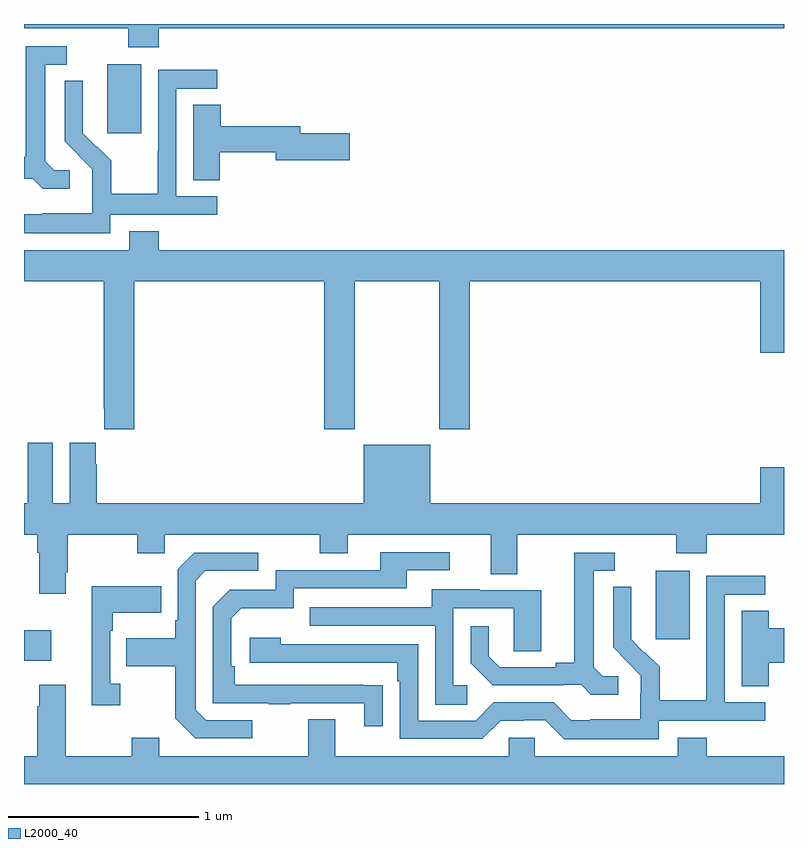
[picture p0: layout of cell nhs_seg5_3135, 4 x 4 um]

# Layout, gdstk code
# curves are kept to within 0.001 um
import gdstk
lib = gdstk.Library(unit=1e-6, precision=1e-09)
def R(c, l, rs):  # rectangles x0, y0, x1, y1
    for r in rs: c.add(gdstk.rectangle(r[:2], r[2:], *l))
def P(c, l, *ps):  # polygons
    for p in ps: c.add(gdstk.Polygon(p, *l))
L2000_40 = (2000, 40)

nhs_seg5_3135 = lib.new_cell('nhs_seg5_3135')
R(nhs_seg5_3135, L2000_40, [(293,837.449,293.143,837.607), (296.324,837.561,296.503,837.922), (293.438,840.225,293.617,840.586)])
P(nhs_seg5_3135, L2000_40, [(293.708,840.776),(297,840.776),(297,840.799),(293,840.799),(293,840.776),(293.548,840.776),(293.548,840.677),(293.708,840.677)],
  [(293.242,840.03),(293.16,840.03),(293.113,840.077),(293.113,840.585),(293.224,840.585),(293.224,840.681),(293.009,840.681),(293.009,840.101),(293,840.101),(293,839.985),(293.046,839.985),(293.098,839.933),(293.242,839.933)],
  [(293.454,839.796),(294.016,839.796),(294.016,839.892),(293.802,839.892),(293.802,840.459),(294.016,840.459),(294.016,840.558),(293.706,840.558),(293.706,840.128),(293.704,840.128),(293.704,839.905),(293.459,839.905),(293.459,840.079),(293.382,840.156),(293.379,840.153),(293.309,840.224),(293.31,840.5),(293.214,840.5),(293.214,840.182),(293.36,840.034),(293.36,839.937),(293.358,839.937),(293.358,839.803),(293.095,839.803),(293.095,839.799),(293,839.799),(293,839.699),(293.454,839.699)],
  [(294.03,840.124),(294.326,840.124),(294.326,840.082),(294.715,840.082),(294.715,840.224),(294.454,840.224),(294.454,840.26),(294.035,840.26),(294.035,840.374),(293.891,840.374),(293.891,839.977),(294.03,839.977)],
  [(293.579,839.444),(294.581,839.444),(294.581,838.665),(294.741,838.665),(294.741,839.444),(295.186,839.444),(295.186,838.665),(295.346,838.665),(295.346,839.444),(296.876,839.444),(296.876,839.07),(297,839.07),(297,839.608),(293.708,839.608),(293.708,839.707),(293.555,839.707),(293.555,839.608),(293,839.608),(293,839.444),(293.419,839.444),(293.419,838.777),(293.423,838.777),(293.423,838.665),(293.579,838.665)],
  [(293.221,837.913),(293.229,837.913),(293.229,838.112),(293.596,838.112),(293.596,838.013),(293.742,838.013),(293.742,838.112),(294.556,838.112),(294.556,838.013),(294.703,838.013),(294.703,838.112),(295.457,838.112),(295.457,837.904),(295.597,837.904),(295.597,838.112),(296.434,838.112),(296.434,838.013),(296.594,838.013),(296.594,838.112),(297,838.112),(297,838.465),(296.876,838.465),(296.876,838.276),(295.138,838.276),(295.138,838.585),(294.788,838.585),(294.788,838.276),(293.384,838.276),(293.384,838.481),(293.377,838.481),(293.377,838.594),(293.24,838.594),(293.24,838.276),(293.152,838.276),(293.152,838.594),(293.021,838.594),(293.021,838.276),(293,838.276),(293,838.112),(293.069,838.112),(293.069,838.016),(293.081,838.016),(293.081,837.801),(293.221,837.801)],
  [(294.887,837.32),(294.11,837.321),(294.11,837.418),(294.09,837.418),(294.09,837.672),(294.143,837.725),(294.42,837.725),(294.42,837.828),(295.015,837.828),(295.015,837.924),(295.24,837.924),(295.24,838.02),(294.875,838.02),(294.875,837.924),(294.324,837.924),(294.324,837.822),(294.084,837.822),(293.994,837.732),(293.994,837.225),(294.289,837.225),(294.289,837.22),(294.401,837.22),(294.401,837.225),(294.791,837.225),(294.791,837.102),(294.887,837.102)],
  [(294.202,837.135),(293.958,837.135),(293.904,837.189),(293.904,837.87),(293.955,837.921),(294.232,837.921),(294.232,838.017),(293.895,838.017),(293.808,837.93),(293.808,837.661),(293.796,837.661),(293.796,837.565),(293.539,837.565),(293.539,837.418),(293.796,837.418),(293.796,837.145),(293.901,837.039),(294.202,837.039)],
  [(296.128,837.366),(296.046,837.366),(295.999,837.413),(295.999,837.921),(296.11,837.921),(296.11,838.017),(295.895,838.017),(295.895,837.437),(295.799,837.437),(295.799,837.414),(295.504,837.414),(295.447,837.471),(295.447,837.628),(295.35,837.628),(295.35,837.434),(295.466,837.318),(295.838,837.318),(295.838,837.321),(295.932,837.321),(295.984,837.269),(296.128,837.269)],
  [(296.34,837.132),(296.902,837.132),(296.902,837.228),(296.688,837.228),(296.688,837.795),(296.902,837.795),(296.902,837.894),(296.592,837.894),(296.592,837.464),(296.59,837.464),(296.59,837.241),(296.345,837.241),(296.345,837.415),(296.268,837.492),(296.265,837.489),(296.195,837.56),(296.196,837.836),(296.1,837.836),(296.1,837.518),(296.246,837.37),(296.246,837.273),(296.244,837.273),(296.244,837.139),(295.981,837.139),(295.981,837.135),(295.881,837.135),(295.788,837.228),(295.473,837.228),(295.377,837.132),(295.074,837.132),(295.074,837.534),(294.35,837.534),(294.35,837.568),(294.189,837.568),(294.189,837.438),(294.965,837.438),(294.965,837.341),(294.978,837.341),(294.978,837.036),(295.413,837.036),(295.509,837.132),(295.628,837.132),(295.628,837.135),(295.743,837.135),(295.843,837.035),(296.34,837.035)],
  [(293.506,837.326),(293.454,837.326),(293.454,837.605),(293.467,837.605),(293.467,837.701),(293.723,837.701),(293.723,837.841),(293.357,837.841),(293.357,837.213),(293.506,837.213)],
  [(295.333,837.318),(295.26,837.318),(295.26,837.723),(295.578,837.723),(295.578,837.499),(295.723,837.499),(295.723,837.819),(295.399,837.819),(295.399,837.823),(295.145,837.823),(295.145,837.729),(294.505,837.729),(294.505,837.633),(295.164,837.633),(295.164,837.217),(295.333,837.217)],
  [(296.921,837.437),(297,837.437),(297,837.62),(296.921,837.62),(296.921,837.71),(296.777,837.71),(296.777,837.313),(296.921,837.313)],
  [(297,836.944),(296.594,836.944),(296.594,837.043),(296.441,837.043),(296.441,836.944),(295.689,836.944),(295.689,837.042),(295.551,837.042),(295.551,836.944),(294.637,836.944),(294.637,837.139),(294.497,837.139),(294.497,836.944),(293.713,836.944),(293.713,837.043),(293.566,837.043),(293.566,836.944),(293.221,836.944),(293.221,837.322),(293.081,837.322),(293.081,837.209),(293.069,837.209),(293.069,836.944),(293,836.944),(293,836.799),(297,836.799)])

lib.write_gds('nhs_seg5_3135.gds')
